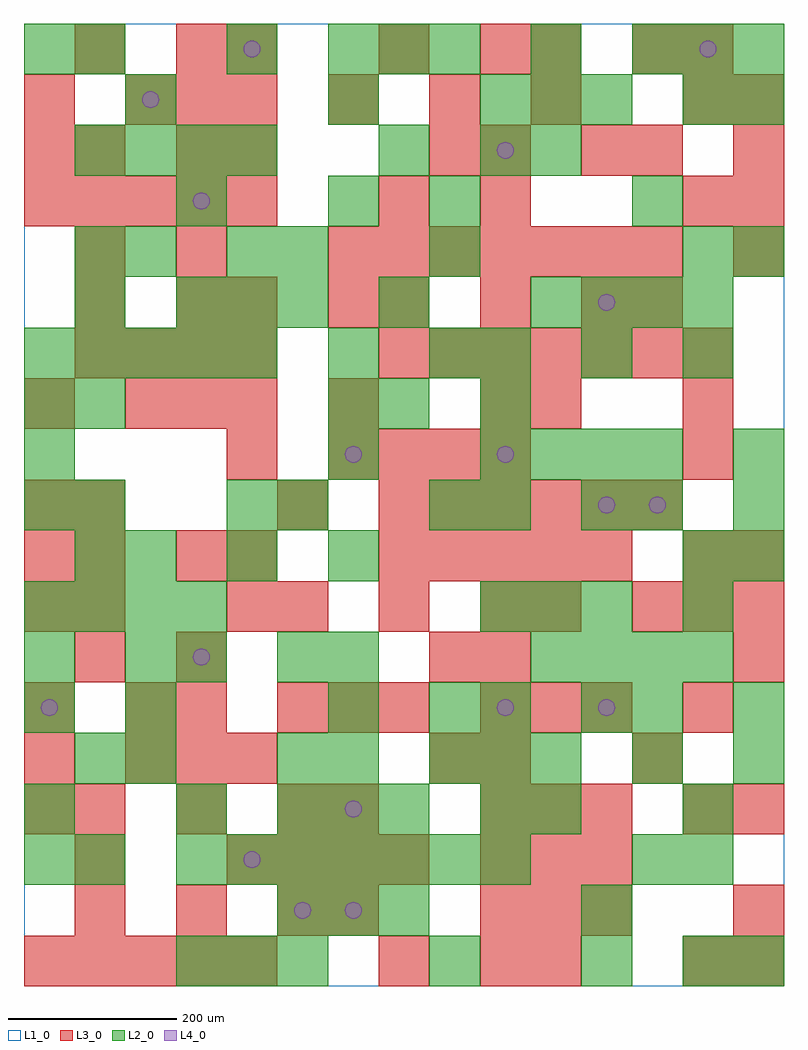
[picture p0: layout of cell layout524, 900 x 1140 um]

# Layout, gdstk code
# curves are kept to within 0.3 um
import gdstk
lib = gdstk.Library(unit=1e-6, precision=1e-09)
def R(c, l, rs):  # rectangles x0, y0, x1, y1
    for r in rs: c.add(gdstk.rectangle(r[:2], r[2:], *l))
def A(c, l, x, y, w, h, nx, ny, dx, dy):  # array of equal rectangles
    R(c, l, [(x+i*dx, y+j*dy, x+i*dx+w, y+j*dy+h) for i in range(nx) for j in range(ny)])
def P(c, l, *ps):  # polygons
    for p in ps: c.add(gdstk.Polygon(p, *l))
L1_0 = (1, 0)
L2_0 = (2, 0)
L3_0 = (3, 0)
L4_0 = (4, 0)

layout524 = lib.new_cell('layout524')
R(layout524, L1_0, [(0,0,900,1140)])
A(layout524, L2_0, 180, 0, 60, 60, 3, 2, 60, 780)
A(layout524, L2_0, 300, 60, 60, 60, 3, 2, 60, 120)
A(layout524, L2_0, 660, 60, 60, 60, 1, 3, 0, 240)
A(layout524, L2_0, 180, 120, 60, 60, 7, 1, 60, 0)
A(layout524, L2_0, 120, 240, 60, 60, 1, 3, 0, 60)
A(layout524, L2_0, 360, 240, 60, 60, 1, 3, 0, 60)
A(layout524, L2_0, 480, 240, 60, 60, 3, 1, 60, 0)
A(layout524, L2_0, 600, 360, 60, 60, 4, 2, 60, 420)
A(layout524, L2_0, 0, 420, 60, 60, 4, 1, 60, 0)
A(layout524, L2_0, 540, 420, 60, 60, 3, 2, 60, 600)
A(layout524, L2_0, 120, 480, 60, 60, 3, 1, 120, 0)
A(layout524, L2_0, 840, 480, 60, 60, 1, 3, 0, 60)
A(layout524, L2_0, 0, 540, 60, 60, 1, 3, 0, 60)
A(layout524, L2_0, 60, 540, 60, 60, 1, 3, 0, 120)
A(layout524, L2_0, 360, 600, 60, 60, 1, 3, 0, 60)
A(layout524, L2_0, 540, 600, 60, 60, 4, 1, 60, 0)
A(layout524, L2_0, 0, 720, 60, 60, 5, 1, 60, 0)
A(layout524, L2_0, 540, 720, 60, 60, 3, 1, 120, 0)
A(layout524, L2_0, 60, 960, 60, 60, 4, 1, 60, 0)
A(layout524, L2_0, 360, 1080, 60, 60, 3, 1, 60, 0)
A(layout524, L2_0, 720, 1080, 60, 60, 3, 1, 60, 0)
R(layout524, L2_0, [(480,0,540,60), (660,0,720,60), (780,0,840,60), (840,0,900,60), (0,120,60,180), (60,120,120,180), (720,120,780,180), (780,120,840,180), (0,180,60,240), (180,180,240,240), (540,180,600,240), (600,180,660,240), (780,180,840,240), (60,240,120,300), (300,240,360,300), (720,240,780,300), (840,240,900,300), (0,300,60,360), (480,300,540,360), (540,300,600,360), (720,300,780,360), (840,300,900,360), (0,360,60,420), (180,360,240,420), (300,360,360,420), (780,420,840,480), (60,480,120,540), (780,480,840,540), (240,540,300,600), (300,540,360,600), (480,540,540,600), (540,540,600,600), (720,540,780,600), (420,660,480,720), (540,660,600,720), (480,720,540,780), (420,780,480,840), (60,840,120,900), (120,840,180,900), (240,840,300,900), (300,840,360,900), (480,840,540,900), (780,840,840,900), (840,840,900,900), (180,900,240,960), (360,900,420,960), (480,900,540,960), (720,900,780,960), (420,960,480,1020), (540,960,600,1020), (600,960,660,1020), (120,1020,180,1080), (360,1020,420,1080), (780,1020,840,1080), (840,1020,900,1080), (0,1080,60,1140), (60,1080,120,1140), (240,1080,300,1140), (600,1080,660,1140)])
A(layout524, L3_0, 0, 0, 60, 60, 5, 2, 60, 900)
A(layout524, L3_0, 60, 60, 60, 60, 3, 2, 120, 120)
A(layout524, L3_0, 540, 60, 60, 60, 3, 3, 60, 60)
A(layout524, L3_0, 240, 120, 60, 60, 4, 1, 60, 0)
A(layout524, L3_0, 0, 180, 60, 60, 1, 3, 0, 60)
A(layout524, L3_0, 120, 240, 60, 60, 3, 2, 60, 420)
A(layout524, L3_0, 300, 300, 60, 60, 3, 1, 60, 0)
A(layout524, L3_0, 540, 300, 60, 60, 3, 1, 60, 0)
A(layout524, L3_0, 60, 360, 60, 60, 1, 4, 0, 60)
A(layout524, L3_0, 0, 420, 60, 60, 1, 3, 0, 60)
A(layout524, L3_0, 300, 420, 60, 60, 3, 1, 120, 0)
A(layout524, L3_0, 720, 420, 60, 60, 3, 1, 60, 0)
A(layout524, L3_0, 420, 480, 60, 60, 5, 1, 60, 0)
A(layout524, L3_0, 420, 540, 60, 60, 6, 1, 60, 0)
A(layout524, L3_0, 240, 600, 60, 60, 1, 3, 0, 180)
A(layout524, L3_0, 360, 600, 60, 60, 4, 1, 60, 0)
A(layout524, L3_0, 60, 720, 60, 60, 4, 1, 60, 0)
A(layout524, L3_0, 420, 720, 60, 60, 7, 1, 60, 0)
A(layout524, L3_0, 420, 780, 60, 60, 3, 1, 120, 0)
A(layout524, L3_0, 60, 840, 60, 60, 1, 3, 0, 120)
A(layout524, L3_0, 180, 840, 60, 60, 1, 3, 0, 120)
A(layout524, L3_0, 360, 840, 60, 60, 7, 1, 60, 0)
A(layout524, L3_0, 840, 840, 60, 60, 1, 4, 0, 60)
A(layout524, L3_0, 120, 1020, 60, 60, 3, 1, 60, 0)
A(layout524, L3_0, 360, 1020, 60, 60, 3, 1, 120, 0)
R(layout524, L3_0, [(420,0,480,60), (540,0,600,60), (600,0,660,60), (780,0,840,60), (840,0,900,60), (360,60,420,120), (840,60,900,120), (60,120,120,180), (360,180,420,240), (780,180,840,240), (840,180,900,240), (480,240,540,300), (540,240,600,300), (720,240,780,300), (120,300,180,360), (180,300,240,360), (780,300,840,360), (180,360,240,420), (480,360,540,420), (540,360,600,420), (840,360,900,420), (240,420,300,480), (600,420,660,480), (180,480,240,540), (240,480,300,540), (780,480,840,540), (840,480,900,540), (300,540,360,600), (780,600,840,660), (0,660,60,720), (360,660,420,720), (540,660,600,720), (600,660,660,720), (780,660,840,720), (60,780,120,840), (180,780,240,840), (360,780,420,840), (720,780,780,840), (420,900,480,960), (540,900,600,960), (780,900,840,960), (0,960,60,1020), (480,960,540,1020), (540,960,600,1020), (660,960,720,1020), (720,960,780,1020), (0,1020,60,1080), (780,1020,840,1080), (240,1080,300,1140), (420,1080,480,1140), (540,1080,600,1140), (600,1080,660,1140), (720,1080,780,1140), (780,1080,840,1140)])
P(layout524, L4_0, [(40,330),(39.239,333.827),(37.071,337.071),(33.827,339.239),(30,340),(26.173,339.239),(22.929,337.071),(20.761,333.827),(20,330),(20.761,326.173),(22.929,322.929),(26.173,320.761),(30,320),(33.827,320.761),(37.071,322.929),(39.239,326.173)],
  [(160,1050),(159.239,1053.827),(157.071,1057.071),(153.827,1059.239),(150,1060),(146.173,1059.239),(142.929,1057.071),(140.761,1053.827),(140,1050),(140.761,1046.173),(142.929,1042.929),(146.173,1040.761),(150,1040),(153.827,1040.761),(157.071,1042.929),(159.239,1046.173)],
  [(220,390),(219.239,393.827),(217.071,397.071),(213.827,399.239),(210,400),(206.173,399.239),(202.929,397.071),(200.761,393.827),(200,390),(200.761,386.173),(202.929,382.929),(206.173,380.761),(210,380),(213.827,380.761),(217.071,382.929),(219.239,386.173)],
  [(220,930),(219.239,933.827),(217.071,937.071),(213.827,939.239),(210,940),(206.173,939.239),(202.929,937.071),(200.761,933.827),(200,930),(200.761,926.173),(202.929,922.929),(206.173,920.761),(210,920),(213.827,920.761),(217.071,922.929),(219.239,926.173)],
  [(280,150),(279.239,153.827),(277.071,157.071),(273.827,159.239),(270,160),(266.173,159.239),(262.929,157.071),(260.761,153.827),(260,150),(260.761,146.173),(262.929,142.929),(266.173,140.761),(270,140),(273.827,140.761),(277.071,142.929),(279.239,146.173)],
  [(280,1110),(279.239,1113.827),(277.071,1117.071),(273.827,1119.239),(270,1120),(266.173,1119.239),(262.929,1117.071),(260.761,1113.827),(260,1110),(260.761,1106.173),(262.929,1102.929),(266.173,1100.761),(270,1100),(273.827,1100.761),(277.071,1102.929),(279.239,1106.173)],
  [(340,90),(339.239,93.827),(337.071,97.071),(333.827,99.239),(330,100),(326.173,99.239),(322.929,97.071),(320.761,93.827),(320,90),(320.761,86.173),(322.929,82.929),(326.173,80.761),(330,80),(333.827,80.761),(337.071,82.929),(339.239,86.173)],
  [(400,90),(399.239,93.827),(397.071,97.071),(393.827,99.239),(390,100),(386.173,99.239),(382.929,97.071),(380.761,93.827),(380,90),(380.761,86.173),(382.929,82.929),(386.173,80.761),(390,80),(393.827,80.761),(397.071,82.929),(399.239,86.173)],
  [(400,210),(399.239,213.827),(397.071,217.071),(393.827,219.239),(390,220),(386.173,219.239),(382.929,217.071),(380.761,213.827),(380,210),(380.761,206.173),(382.929,202.929),(386.173,200.761),(390,200),(393.827,200.761),(397.071,202.929),(399.239,206.173)],
  [(400,630),(399.239,633.827),(397.071,637.071),(393.827,639.239),(390,640),(386.173,639.239),(382.929,637.071),(380.761,633.827),(380,630),(380.761,626.173),(382.929,622.929),(386.173,620.761),(390,620),(393.827,620.761),(397.071,622.929),(399.239,626.173)],
  [(580,330),(579.239,333.827),(577.071,337.071),(573.827,339.239),(570,340),(566.173,339.239),(562.929,337.071),(560.761,333.827),(560,330),(560.761,326.173),(562.929,322.929),(566.173,320.761),(570,320),(573.827,320.761),(577.071,322.929),(579.239,326.173)],
  [(580,630),(579.239,633.827),(577.071,637.071),(573.827,639.239),(570,640),(566.173,639.239),(562.929,637.071),(560.761,633.827),(560,630),(560.761,626.173),(562.929,622.929),(566.173,620.761),(570,620),(573.827,620.761),(577.071,622.929),(579.239,626.173)],
  [(580,990),(579.239,993.827),(577.071,997.071),(573.827,999.239),(570,1000),(566.173,999.239),(562.929,997.071),(560.761,993.827),(560,990),(560.761,986.173),(562.929,982.929),(566.173,980.761),(570,980),(573.827,980.761),(577.071,982.929),(579.239,986.173)],
  [(700,330),(699.239,333.827),(697.071,337.071),(693.827,339.239),(690,340),(686.173,339.239),(682.929,337.071),(680.761,333.827),(680,330),(680.761,326.173),(682.929,322.929),(686.173,320.761),(690,320),(693.827,320.761),(697.071,322.929),(699.239,326.173)],
  [(700,570),(699.239,573.827),(697.071,577.071),(693.827,579.239),(690,580),(686.173,579.239),(682.929,577.071),(680.761,573.827),(680,570),(680.761,566.173),(682.929,562.929),(686.173,560.761),(690,560),(693.827,560.761),(697.071,562.929),(699.239,566.173)],
  [(700,810),(699.239,813.827),(697.071,817.071),(693.827,819.239),(690,820),(686.173,819.239),(682.929,817.071),(680.761,813.827),(680,810),(680.761,806.173),(682.929,802.929),(686.173,800.761),(690,800),(693.827,800.761),(697.071,802.929),(699.239,806.173)],
  [(760,570),(759.239,573.827),(757.071,577.071),(753.827,579.239),(750,580),(746.173,579.239),(742.929,577.071),(740.761,573.827),(740,570),(740.761,566.173),(742.929,562.929),(746.173,560.761),(750,560),(753.827,560.761),(757.071,562.929),(759.239,566.173)],
  [(820,1110),(819.239,1113.827),(817.071,1117.071),(813.827,1119.239),(810,1120),(806.173,1119.239),(802.929,1117.071),(800.761,1113.827),(800,1110),(800.761,1106.173),(802.929,1102.929),(806.173,1100.761),(810,1100),(813.827,1100.761),(817.071,1102.929),(819.239,1106.173)])

lib.write_gds('layout524.gds')
